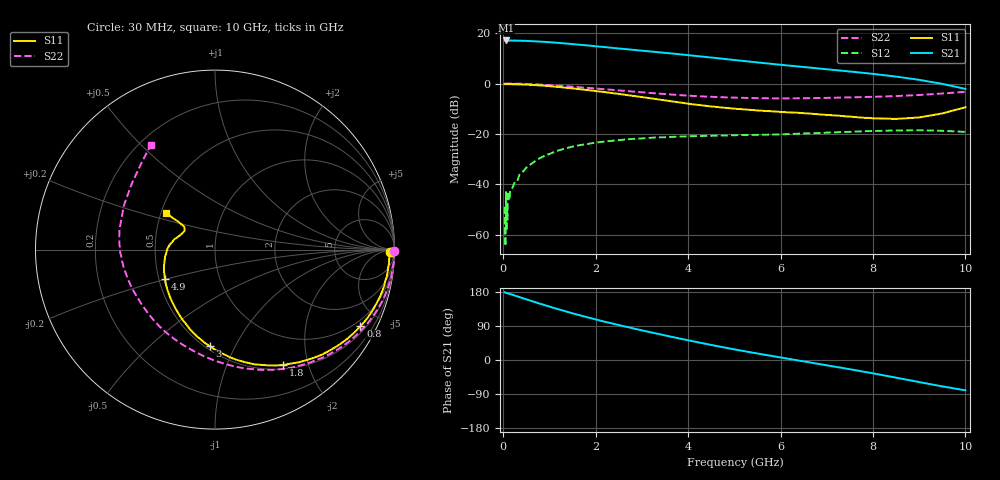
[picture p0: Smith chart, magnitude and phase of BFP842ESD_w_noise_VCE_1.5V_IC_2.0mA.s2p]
! Infineon Technologies  Discrete & RF Semiconductors
! BFP842ESD
! VCE =  1.5 V,  IC =  2.0 mA
! Common Emitter S-Parameters:  May 2012
# GHz  S  MA  R  50
!  f  S11  S21  S12  S22
! GHz  MAG  ANG  MAG  ANG  MAG  ANG  MAG  ANG
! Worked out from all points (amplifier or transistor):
!   99 points, 30 MHz to 10 GHz, reference 50 ohm
!   highest |S21| = 17.1 dB at 60 MHz (marker M1)
!   |S21| within 3 dB of that: start of sweep to 2.392 GHz
!   unconditionally stable (mu >= 1): 4.209 GHz to end of sweep
!   at 350 MHz: K = 0.06, MSG = 26.6 dB, |S12| = -36.2 dB
!   at 3.5 GHz: K = 0.82, MSG = 16.7 dB, |S12| = -21.3 dB
!   at 10 GHz: K = 2.60, MAG = 1.5 dB, |S12| = -19.2 dB
!   lowest NFmin = 0.35 dB at 450 MHz
!   S11 on the Smith chart (normalised r, x): 30 MHz: 58, -38; 800 MHz: 0.73, -3.91; 1.8 GHz: 0.56, -1.62; 3 GHz: 0.53, -0.80; 4.9 GHz: 0.54, -0.20; 10 GHz: 0.53, +0.24
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0.03  0.9763 -0.9  7.081 178.8  0.0036 69.5  0.9995 -0.6
0.04  0.9756 -1.4  7.054 178.2  0.0008 96.0  0.9991 -0.9
0.05  0.9678 -1.6  7.024 177.6  0.0006 15.9  1 -1.4
0.06  0.9739 -2.3  7.137 177.3  0.0071 44.8  1 -1.6
0.07  0.9723 -2.2  7.068 177.1  0.0012 172.0  0.9999 -2.0
0.08  0.9718 -3.0  7.088 176.5  0.0042 98.6  0.9966 -2.3
0.09  0.9725 -3.3  7 176.5  0.002 107.3  0.9953 -2.4
0.11  0.9719 -3.9  7.135 175.4  0.0073 71.2  0.9983 -3.1
0.5  0.9509 -17.6  7.003 160.2  0.0216 75.8  0.9814 -14.8
0.8  0.9162 -27.8  6.771 148.4  0.0336 67.9  0.9536 -23.4
1.2  0.853 -41.0  6.379 133.6  0.0474 57.3  0.9055 -34.4
1.7  0.7634 -56.3  5.817 116.6  0.0612 46.0  0.8359 -47.3
1.8  0.7473 -59.3  5.714 113.5  0.0627 44.5  0.8236 -49.7
2.3  0.6572 -73.8  5.16 98.0  0.0725 34.4  0.7578 -61.6
3  0.5389 -93.2  4.478 78.3  0.0818 24.2  0.672 -77.9
3.4  0.4785 -104.7  4.136 67.7  0.0861 18.3  0.6281 -87.6
4.2  0.3789 -128.7  3.497 47.0  0.0912 8.7  0.5627 -107.5
4.9  0.3243 -149.3  2.993 30.4  0.0939 1.9  0.5298 -124.4
5.1  0.3122 -154.8  2.864 25.9  0.095 0.0  0.5231 -129.0
6.7  0.2509 173.0  2.042 -7.8  0.1037 -12.3  0.5138 -164.6
8.5  0.1992 148.0  1.373 -46.6  0.1176 -33.2  0.5645 153.9
10  0.339 143.5  0.784 -80.0  0.11 -58.4  0.685 121.4
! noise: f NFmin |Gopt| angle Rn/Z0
0.45  0.35  0.77  2  0.27
0.9  0.37  0.74  10  0.25
1.5  0.41  0.67  29  0.22
1.9  0.43  0.65  37  0.2
2.4  0.49  0.63  49  0.18
3.5  0.65  0.5  82  0.13
4  0.73  0.45  102  0.11
5  0.87  0.42  123  0.07
5.5  1.01  0.41  138  0.07
6  1.25  0.38  155  0.07
